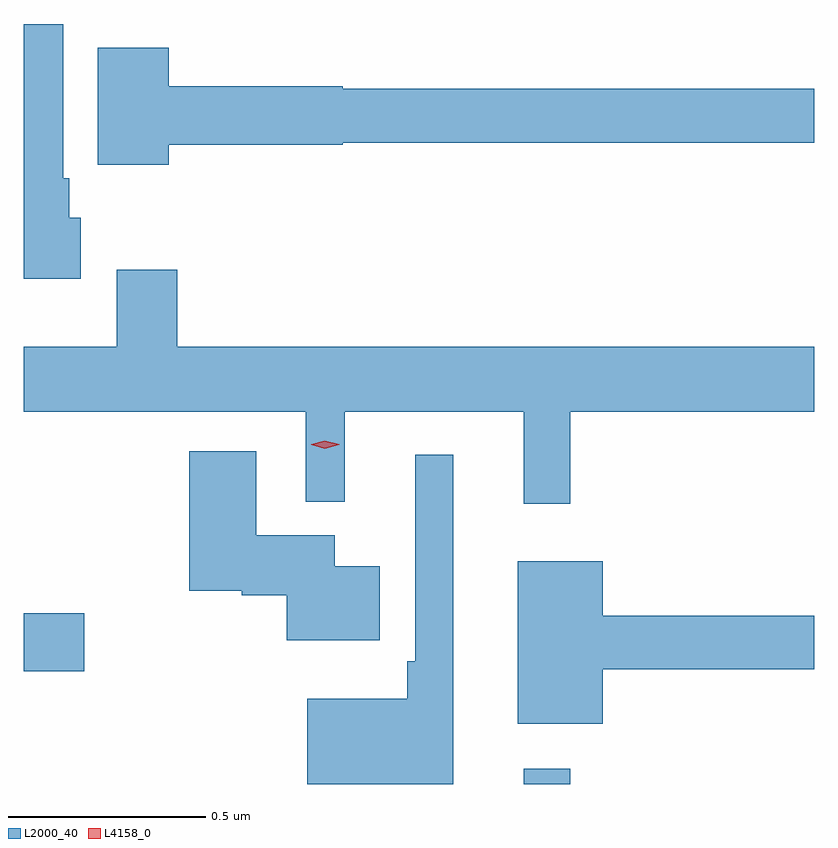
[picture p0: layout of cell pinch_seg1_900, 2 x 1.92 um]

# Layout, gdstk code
import gdstk
lib = gdstk.Library(unit=1e-6, precision=1e-09)
def R(c, l, rs):  # rectangles x0, y0, x1, y1
    for r in rs: c.add(gdstk.rectangle(r[:2], r[2:], *l))
def P(c, l, *ps):  # polygons
    for p in ps: c.add(gdstk.Polygon(p, *l))
L2000_40 = (2000, 40)
L4158_0 = (4158, 0)

pinch_seg1_900 = lib.new_cell('pinch_seg1_900')
R(pinch_seg1_900, L2000_40, [(619.502,536.138,619.619,536.176), (618.237,536.423,618.391,536.57)])
P(pinch_seg1_900, L2000_40, [(618.382,537.57),(618.352,537.57),(618.352,537.67),(618.337,537.67),(618.337,538.06),(618.237,538.06),(618.237,537.416),(618.382,537.416)],
  [(618.604,537.755),(619.044,537.755),(619.044,537.76),(620.237,537.76),(620.237,537.896),(619.044,537.896),(619.044,537.902),(618.604,537.902),(618.604,538),(618.425,538),(618.425,537.704),(618.604,537.704)],
  [(619.619,537.08),(620.237,537.08),(620.237,537.244),(618.626,537.244),(618.626,537.439),(618.473,537.439),(618.473,537.244),(618.237,537.244),(618.237,537.08),(618.951,537.08),(618.951,536.852),(619.049,536.852),(619.049,537.08),(619.502,537.08),(619.502,536.847),(619.619,536.847)],
  [(619.138,536.689),(619.024,536.689),(619.024,536.767),(618.826,536.767),(618.826,536.98),(618.656,536.98),(618.656,536.627),(618.789,536.627),(618.789,536.615),(618.902,536.615),(618.902,536.501),(619.138,536.501)],
  [(619.324,536.971),(619.227,536.971),(619.227,536.449),(619.207,536.449),(619.207,536.353),(618.954,536.353),(618.954,536.138),(619.324,536.138)],
  [(619.702,536.428),(620.237,536.428),(620.237,536.564),(619.702,536.564),(619.702,536.701),(619.487,536.701),(619.487,536.291),(619.702,536.291)])
P(pinch_seg1_900, L4158_0, [(618.999,536.986),(618.964,536.996),(618.964,536.996),(618.964,536.997),(618.999,537.006),(619.035,536.997),(619.035,536.996),(619.035,536.996)])

lib.write_gds('pinch_seg1_900.gds')
